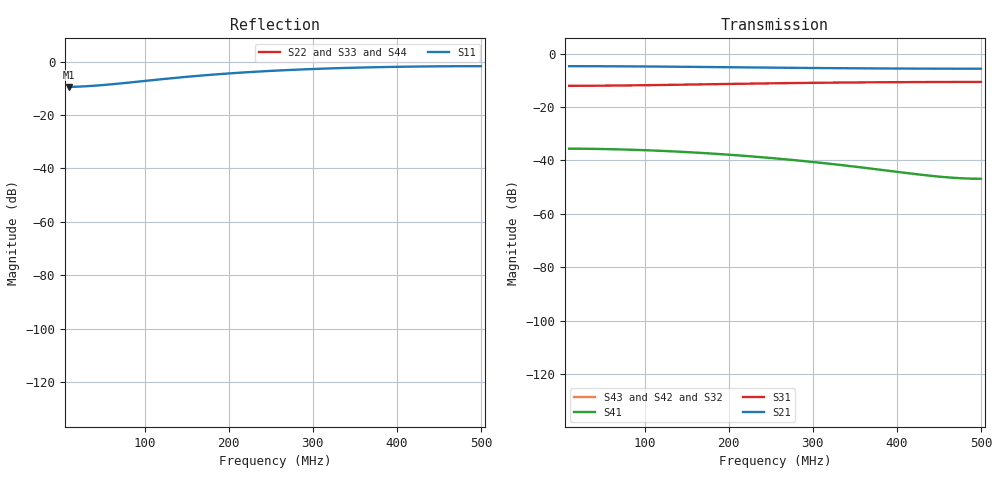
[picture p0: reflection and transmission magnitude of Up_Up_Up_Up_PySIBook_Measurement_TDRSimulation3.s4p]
# MHz MA S R 50.0
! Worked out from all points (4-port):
!   50 points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, 10 MHz to 500 MHz, reference 50 ohm
!   strongest paths, dB at 10 MHz, 130 MHz, 260 MHz, 380 MHz, 500 MHz:
!     S21: -4.7, -4.9, -5.3, -5.5, -5.6
!     S31: -12.0, -11.7, -11.1, -10.7, -10.6
!     S41: -35.6, -36.5, -39.4, -43.5, -46.8
!     S43: -, -, -, -, -
!     S42: -, -, -, -, -
!     S32: -, -, -, -, -
!   lowest |S11| = -9.5 dB at 10 MHz (marker M1), VSWR 2.01, Z = 100 + j4.19 ohm
!   |S11| at or under -10 dB: nowhere
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10  0.3346 3.2  0 0.0  0 0.0  0 0.0
    0.5832 -0.2  0 0.0  0 0.0  0 0.0
    0.2501 175.2  0 0.0  0 0.0  0 0.0
    0.01665 -1.6  0 0.0  0 0.0  0 0.0
120  0.4659 24.1  0 0.0  0 0.0  0 0.0
     0.5723 -2.4  0 0.0  0 0.0  0 0.0
     0.2592 124.4  0 0.0  0 0.0  0 0.0
     0.01513 -18.3  0 0.0  0 0.0  0 0.0
220  0.6272 22.7  0 0.0  0 0.0  0 0.0
     0.5535 -3.1  0 0.0  0 0.0  0 0.0
     0.2739 84.6  0 0.0  0 0.0  0 0.0
     0.01216 -29.9  0 0.0  0 0.0  0 0.0
290  0.7135 17.9  0 0.0  0 0.0  0 0.0
     0.5408 -2.9  0 0.0  0 0.0  0 0.0
     0.2832 60.6  0 0.0  0 0.0  0 0.0
     0.00972 -34.3  0 0.0  0 0.0  0 0.0
370  0.7792 11.3  0 0.0  0 0.0  0 0.0
     0.5298 -2.1  0 0.0  0 0.0  0 0.0
     0.2907 36.2  0 0.0  0 0.0  0 0.0
     0.007022 -32.9  0 0.0  0 0.0  0 0.0
450  0.8125 4.4  0 0.0  0 0.0  0 0.0
     0.5238 -0.8  0 0.0  0 0.0  0 0.0
     0.2948 13.6  0 0.0  0 0.0  0 0.0
     0.004991 -18.0  0 0.0  0 0.0  0 0.0
500  0.8182 -0.0  0 0.0  0 0.0  0 0.0
     0.5227 0.0  0 0.0  0 0.0  0 0.0
     0.2955 -0.0  0 0.0  0 0.0  0 0.0
     0.004545 0.0  0 0.0  0 0.0  0 0.0
